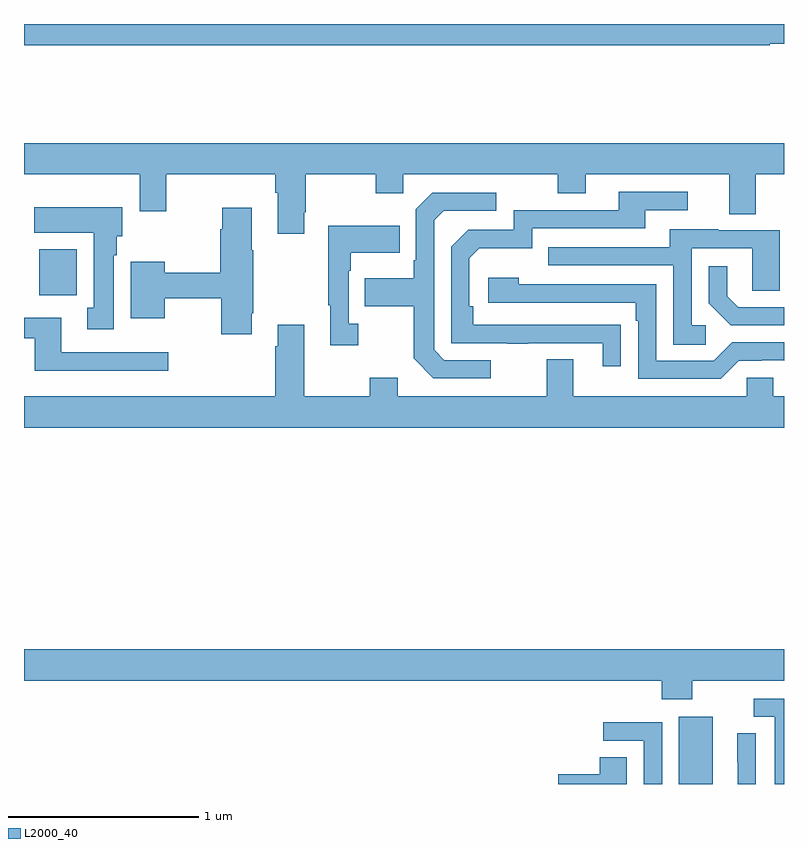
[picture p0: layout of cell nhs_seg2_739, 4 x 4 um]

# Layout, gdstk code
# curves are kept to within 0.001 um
import gdstk
lib = gdstk.Library(unit=1e-6, precision=1e-09)
def R(c, l, rs):  # rectangles x0, y0, x1, y1
    for r in rs: c.add(gdstk.rectangle(r[:2], r[2:], *l))
def P(c, l, *ps):  # polygons
    for p in ps: c.add(gdstk.Polygon(p, *l))
L2000_40 = (2000, 40)

nhs_seg2_739 = lib.new_cell('nhs_seg2_739')
R(nhs_seg2_739, L2000_40, [(152.447,605.8,152.626,606.154), (149.081,608.372,149.278,608.614)])
P(nhs_seg2_739, L2000_40, [(152.926,609.696),(153,609.696),(153,609.8),(149,609.8),(149,609.688),(152.926,609.688)],
  [(150.475,608.809),(150.483,608.809),(150.483,609.008),(150.85,609.008),(150.85,608.909),(150.996,608.909),(150.996,609.008),(151.81,609.008),(151.81,608.909),(151.957,608.909),(151.957,609.008),(152.711,609.008),(152.711,608.8),(152.851,608.8),(152.851,609.008),(153,609.008),(153,609.172),(149,609.172),(149,609.008),(149.609,609.008),(149.609,608.814),(149.749,608.814),(149.749,609.008),(150.323,609.008),(150.323,608.912),(150.335,608.912),(150.335,608.697),(150.475,608.697)],
  [(152.141,608.216),(151.364,608.217),(151.364,608.314),(151.344,608.314),(151.344,608.568),(151.397,608.621),(151.674,608.621),(151.674,608.724),(152.269,608.724),(152.269,608.82),(152.494,608.82),(152.494,608.916),(152.129,608.916),(152.129,608.82),(151.578,608.82),(151.578,608.718),(151.338,608.718),(151.248,608.628),(151.248,608.121),(151.543,608.121),(151.543,608.116),(151.655,608.116),(151.655,608.121),(152.045,608.121),(152.045,607.998),(152.141,607.998)],
  [(151.456,608.031),(151.212,608.031),(151.158,608.085),(151.158,608.766),(151.209,608.817),(151.486,608.817),(151.486,608.913),(151.149,608.913),(151.062,608.826),(151.062,608.557),(151.05,608.557),(151.05,608.461),(150.793,608.461),(150.793,608.314),(151.05,608.314),(151.05,608.041),(151.155,607.935),(151.456,607.935)],
  [(149.473,608.582),(149.488,608.582),(149.488,608.682),(149.518,608.682),(149.518,608.836),(149.054,608.836),(149.054,608.702),(149.366,608.702),(149.366,608.306),(149.333,608.306),(149.333,608.193),(149.473,608.193)],
  [(150.199,608.278),(150.207,608.278),(150.207,608.609),(150.199,608.609),(150.199,608.833),(150.044,608.833),(150.044,608.72),(150.032,608.72),(150.032,608.492),(149.74,608.492),(149.74,608.548),(149.561,608.548),(149.561,608.252),(149.74,608.252),(149.74,608.356),(150.037,608.356),(150.037,608.166),(150.199,608.166)],
  [(150.76,608.222),(150.708,608.222),(150.708,608.501),(150.721,608.501),(150.721,608.597),(150.977,608.597),(150.977,608.737),(150.6,608.737),(150.6,608.321),(150.611,608.321),(150.611,608.109),(150.76,608.109)],
  [(152.587,608.214),(152.514,608.214),(152.514,608.619),(152.832,608.619),(152.832,608.395),(152.977,608.395),(152.977,608.715),(152.653,608.715),(152.653,608.719),(152.399,608.719),(152.399,608.625),(151.759,608.625),(151.759,608.529),(152.418,608.529),(152.418,608.113),(152.587,608.113)],
  [(153,608.31),(152.758,608.31),(152.701,608.367),(152.701,608.524),(152.604,608.524),(152.604,608.33),(152.72,608.214),(153,608.214)],
  [(152.763,608.028),(152.882,608.028),(152.882,608.031),(152.997,608.031),(153,608.028),(153,608.124),(152.727,608.124),(152.631,608.028),(152.328,608.028),(152.328,608.43),(151.604,608.43),(151.604,608.464),(151.443,608.464),(151.443,608.334),(152.219,608.334),(152.219,608.237),(152.232,608.237),(152.232,607.932),(152.667,607.932)],
  [(149.758,608.073),(149.197,608.073),(149.197,608.254),(149,608.254),(149,608.145),(149.057,608.145),(149.057,607.976),(149.758,607.976)],
  [(153,607.84),(152.943,607.84),(152.943,607.938),(152.805,607.938),(152.805,607.84),(151.891,607.84),(151.891,608.035),(151.751,608.035),(151.751,607.84),(150.967,607.84),(150.967,607.939),(150.82,607.939),(150.82,607.84),(150.475,607.84),(150.475,608.218),(150.335,608.218),(150.335,608.105),(150.323,608.105),(150.323,607.84),(149,607.84),(149,607.676),(153,607.676)],
  [(152.517,606.344),(153,606.344),(153,606.508),(149,606.508),(149,606.344),(152.357,606.344),(152.357,606.245),(152.517,606.245)],
  [(153,606.249),(152.841,606.249),(152.841,606.153),(152.951,606.153),(152.951,605.8),(153,605.8)],
  [(152.358,606.126),(152.049,606.126),(152.049,606.027),(152.262,606.027),(152.262,605.8),(152.358,605.8)],
  [(152.85,606.068),(152.754,606.068),(152.754,605.914),(152.756,605.914),(152.756,605.8),(152.85,605.8)],
  [(152.173,605.942),(152.03,605.942),(152.03,605.852),(151.812,605.852),(151.812,605.8),(152.173,605.8)])

lib.write_gds('nhs_seg2_739.gds')
